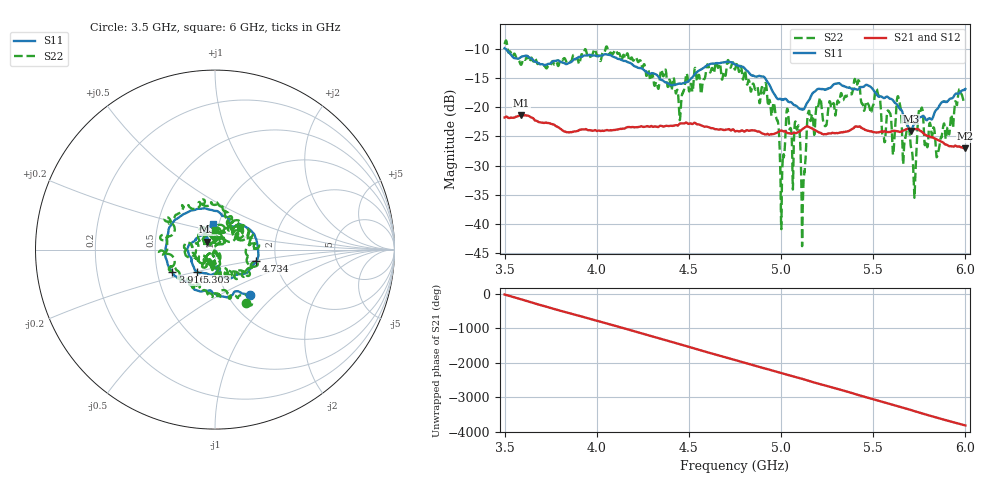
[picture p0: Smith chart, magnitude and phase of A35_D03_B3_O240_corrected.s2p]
! Created with skrf 1.9.0 (http://scikit-rf.org).
# Hz S RI R 50.0
!freq ReS11 ImS11 ReS21 ImS21 ReS12 ImS12 ReS22 ImS22
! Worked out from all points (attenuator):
!   1601 points, 3.5 GHz to 6 GHz, reference 50 ohm
!   highest |S21| = -21.39 dB at 3.591 GHz (marker M1); lowest = -27.1 dB at 5.998 GHz (marker M2)
!   lowest |S11| = -24.1 dB at 5.703 GHz (marker M3), VSWR 1.13, Z = 45.6 + j4.07 ohm
!   |S11| at or under -10 dB: 3.503 GHz to end of sweep
!   |S22| runs from -43.8 to -8.6 dB; largest |S21 - S12| = 0.001
!   S11 on the Smith chart (normalised r, x): 3.5 GHz: 1.27, -0.71; 3.916 GHz: 0.60, -0.16; 4.734 GHz: 1.58, -0.22; 5.303 GHz: 0.80, -0.20; 6 GHz: 0.94, +0.27
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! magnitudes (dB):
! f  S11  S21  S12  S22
! 3.5 GHz  -9.9  -21.8  -21.8  -9.3
! 3.591 GHz  -11.4  -21.4  -21.4  -12.8
! 3.916 GHz  -11.4  -23.9  -23.8  -11.2
! 3.917 GHz  -11.4  -23.8  -23.8  -11.0
! 4.334 GHz  -14.8  -23.4  -23.3  -16.9
! 4.734 GHz  -12.4  -23.9  -23.9  -12.6
! 4.75 GHz  -12.7  -24.1  -24.1  -13.6
! 4.967 GHz  -18.0  -24.5  -24.5  -20.6
! 5.006 GHz  -18.8  -24.1  -24.0  -30.9
! 5.039 GHz  -19.1  -24.5  -24.4  -21.2
! 5.091 GHz  -20.0  -24.3  -24.3  -23.4
! 5.12 GHz  -20.4  -23.7  -23.6  -33.9
! 5.145 GHz  -19.1  -23.3  -23.3  -21.1
! 5.167 GHz  -17.8  -23.6  -23.6  -21.3
! 5.303 GHz  -16.0  -24.4  -24.4  -19.4
! 5.584 GHz  -18.5  -24.3  -24.2  -20.7
! 5.703 GHz  -24.1  -23.8  -23.7  -26.5
! 5.722 GHz  -22.9  -23.7  -23.7  -34.5
! 5.756 GHz  -21.7  -24.1  -24.0  -20.7
! 5.85 GHz  -20.2  -25.6  -25.5  -27.9
! 5.998 GHz  -17.0  -27.1  -27.0  -19.2
! 6 GHz  -16.9  -27.1  -27.0  -19.2
